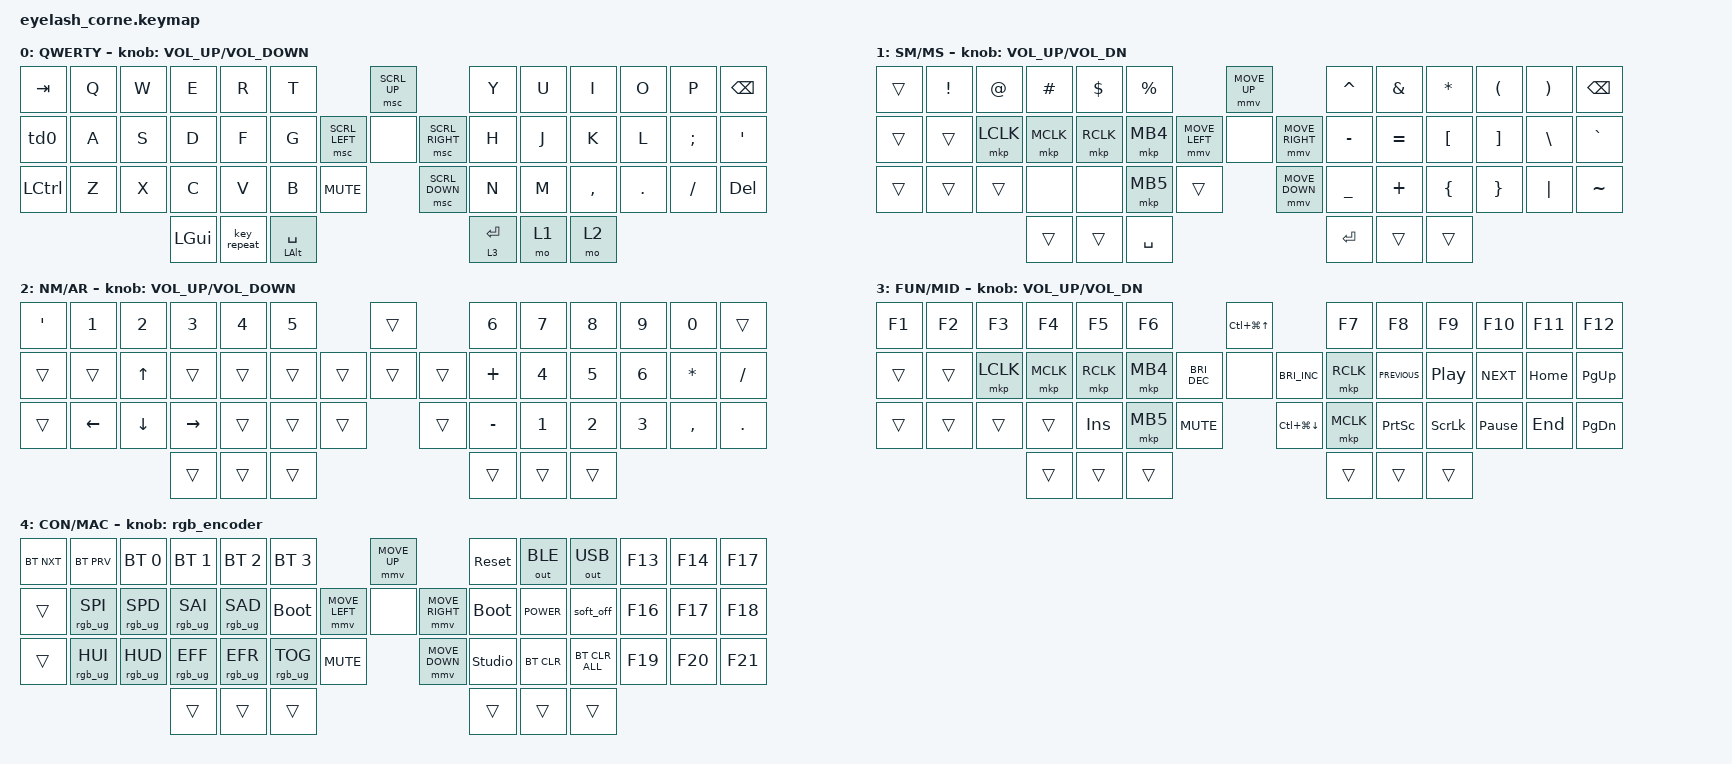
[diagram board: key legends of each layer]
#define ZMK_POINTING_DEFAULT_MOVE_VAL 800  // 600
#define ZMK_POINTING_DEFAULT_SCRL_VAL 10   // 10

#include <input/processors.dtsi>
#include <zephyr/dt-bindings/input/input-event-codes.h>
#include <behaviors.dtsi>
#include <dt-bindings/zmk/bt.h>
#include <dt-bindings/zmk/keys.h>
#include <dt-bindings/zmk/outputs.h>
#include <dt-bindings/zmk/pointing.h>
#include <dt-bindings/zmk/rgb.h>

&mmv_input_listener { input-processors = <&zip_xy_scaler 2 1>; };

&msc_input_listener { input-processors = <&zip_scroll_scaler 2 1>; };

&msc {
    acceleration-exponent = <0>;      // 0
    time-to-max-speed-ms = <0>;       // 300
    delay-ms = <0>;                   // 0
};

&mmv {
    time-to-max-speed-ms = <500>;
    acceleration-exponent = <1>;
    trigger-period-ms = <16>;
};

/ {
    behaviors {
        td0: td0 {
            compatible = "zmk,behavior-tap-dance";
            display-name = "Shift/Caps Lock Tap Dance";
            #binding-cells = <0>;
            bindings = <&kp LEFT_SHIFT>, <&kp CAPS>;
        };
    };

    rgb_encoder: rgb_encoder {
        compatible = "zmk,behavior-sensor-rotate";
        #sensor-binding-cells = <0>;
        bindings = <&rgb_ug RGB_BRI>, <&rgb_ug RGB_BRD>;
    };

    scroll_encoder: scroll_encoder {
        compatible = "zmk,behavior-sensor-rotate";
        #sensor-binding-cells = <0>;
        bindings = <&msc SCRL_DOWN>, <&msc SCRL_UP>;

        tap-ms = <100>;
    };

    combos {
        compatible = "zmk,combos";

        CONF {
            bindings = <&mo 4>;
            key-positions = <43 46>;
            layers = <0>;
        };

        K_ESC {
            bindings = <&kp ESC>;
            key-positions = <0 1>;
        };
    };

    keymap {
        compatible = "zmk,keymap";

        L0 {
            display-name = "QWERTY";
            bindings = <
&kp TAB    &kp Q  &kp W  &kp E     &kp R        &kp T                                             &msc SCRL_UP                     &kp Y        &kp U  &kp I      &kp O    &kp P     &kp BSPC
&td0       &kp A  &kp S  &kp D     &kp F        &kp G                             &msc SCRL_LEFT  &none           &msc SCRL_RIGHT  &kp H        &kp J  &kp K      &kp L    &kp SEMI  &kp SQT
&kp LCTRL  &kp Z  &kp X  &kp C     &kp V        &kp B               &kp C_MUTE                    &msc SCRL_DOWN                   &kp N        &kp M  &kp COMMA  &kp DOT  &kp FSLH  &kp DELETE
                         &kp LGUI  &key_repeat  &mt LEFT_ALT SPACE                                                                 &lt 3 ENTER  &mo 1  &mo 2
            >;

            sensor-bindings = <&inc_dec_kp C_VOLUME_UP C_VOLUME_DOWN>;
        };

        L1 {
            display-name = "SM/MS";
            bindings = <
&trans  &kp EXCL  &kp AT     &kp HASH   &kp DLLR   &kp PRCNT                            &mmv MOVE_UP                     &kp CARET  &kp AMPS   &kp ASTRK  &kp LPAR  &kp RPAR  &kp BSPC
&trans  &trans    &mkp LCLK  &mkp MCLK  &mkp RCLK  &mkp MB4             &mmv MOVE_LEFT  &none           &mmv MOVE_RIGHT  &kp MINUS  &kp EQUAL  &kp LBKT   &kp RBKT  &kp BSLH  &kp GRAVE
&trans  &trans    &trans     &none      &none      &mkp MB5   &trans                    &mmv MOVE_DOWN                   &kp UNDER  &kp PLUS   &kp LBRC   &kp RBRC  &kp PIPE  &kp TILDE
                             &trans     &trans     &kp SPACE                                                             &kp RET    &trans     &trans
            >;

            sensor-bindings = <&inc_dec_kp C_VOLUME_UP C_VOL_DN>;
        };

        L2 {
            bindings = <
&kp APOS  &kp NUMBER_1    &kp NUMBER_2    &kp NUMBER_3     &kp NUMBER_4  &kp N5                    &trans          &kp NUMBER_6  &kp N7        &kp N8        &kp N9        &kp N0        &trans
&trans    &trans          &kp UP_ARROW    &trans           &trans        &trans            &trans  &trans  &trans  &kp PLUS      &kp NUMBER_4  &kp NUMBER_5  &kp NUMBER_6  &kp ASTERISK  &kp SLASH
&trans    &kp LEFT_ARROW  &kp DOWN_ARROW  &kp RIGHT_ARROW  &trans        &trans  &trans            &trans          &kp MINUS     &kp NUMBER_1  &kp NUMBER_2  &kp NUMBER_3  &kp COMMA     &kp PERIOD
                                          &trans           &trans        &trans                                    &trans        &trans        &trans
            >;

            display-name = "NM/AR";
            sensor-bindings = <&inc_dec_kp C_VOLUME_UP C_VOLUME_DOWN>;
        };

        L3 {
            display-name = "FUN/MID";
            bindings = <
&kp F1  &kp F2  &kp F3     &kp F4     &kp F5     &kp F6                                        &kp LC(LG(UP_ARROW))                          &kp F7     &kp F8           &kp F9            &kp F10          &kp F11   &kp F12
&trans  &trans  &mkp LCLK  &mkp MCLK  &mkp RCLK  &mkp MB4                &kp C_BRIGHTNESS_DEC  &none                   &kp C_BRIGHTNESS_INC  &mkp RCLK  &kp C_PREVIOUS   &kp C_PLAY_PAUSE  &kp C_NEXT       &kp HOME  &kp PAGE_UP
&trans  &trans  &trans     &trans     &kp INS    &mkp MB5  &kp C_MUTE                          &kp LC(LG(DOWN_ARROW))                        &mkp MCLK  &kp PRINTSCREEN  &kp SCROLLLOCK    &kp PAUSE_BREAK  &kp END   &kp PAGE_DOWN
                           &trans     &trans     &trans                                                                                      &trans     &trans           &trans
            >;

            sensor-bindings = <&inc_dec_kp C_VOLUME_UP C_VOL_DN>;
        };

        L4 {
            display-name = "CON/MAC";
            bindings = <
&bt BT_NXT  &bt BT_PRV       &bt BT_SEL 0     &bt BT_SEL 1     &bt BT_SEL 2     &bt BT_SEL 3                                   &mmv MOVE_UP                     &sys_reset      &out OUT_BLE  &out OUT_USB    &kp F13  &kp F14  &kp F17
&trans      &rgb_ug RGB_SPI  &rgb_ug RGB_SPD  &rgb_ug RGB_SAI  &rgb_ug RGB_SAD  &bootloader                    &mmv MOVE_LEFT  &none           &mmv MOVE_RIGHT  &bootloader     &kp K_POWER   &soft_off       &kp F16  &kp F17  &kp F18
&trans      &rgb_ug RGB_HUI  &rgb_ug RGB_HUD  &rgb_ug RGB_EFF  &rgb_ug RGB_EFR  &rgb_ug RGB_TOG  &kp C_MUTE                    &mmv MOVE_DOWN                   &studio_unlock  &bt BT_CLR    &bt BT_CLR_ALL  &kp F19  &kp F20  &kp F21
                                              &trans           &trans           &trans                                                                          &trans          &trans        &trans
            >;

            sensor-bindings = <&rgb_encoder>;
        };
    };
};
